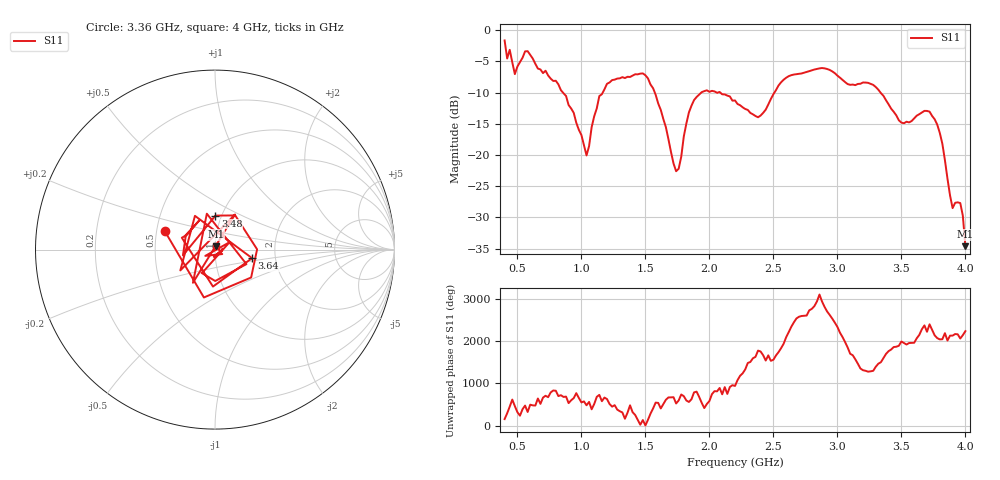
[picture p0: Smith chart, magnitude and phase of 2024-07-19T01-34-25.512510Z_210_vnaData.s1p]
!Created with skrf (http://scikit-rf.org).
# Hz S RI R 50.0
!freq ReS11 ImS11
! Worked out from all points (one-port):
!   181 points, 400 MHz to 4 GHz, reference 50 ohm
!   lowest |S11| = -34.6 dB at 4 GHz (marker M1), VSWR 1.04, Z = 50.4 + j1.81 ohm
!   |S11| at or under -10 dB: 1.573 GHz to 1.937 GHz (363.8 MHz wide, 20.7 % of centre); 2.085 GHz to 2.508 GHz (423.8 MHz wide, 18.5 % of centre); 3.336 GHz to end of sweep (the widest 3 of 5)
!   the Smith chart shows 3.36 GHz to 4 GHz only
!   S11 on the Smith chart (normalised r, x): 3.36 GHz: 0.55, +0.12; 3.48 GHz: 0.94, +0.37; 3.64 GHz: 1.51, -0.15; 4 GHz: 1.01, +0.04
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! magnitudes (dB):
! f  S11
! 400 MHz  -1.7
! 420 MHz  -4.6
! 480 MHz  -7.1
! 580 MHz  -3.4
! 860 MHz  -10.1
! 1.04 GHz  -20.1
! 1.14 GHz  -10.6
! 1.3 GHz  -7.7
! 1.52 GHz  -7.7
! 1.62 GHz  -12.8
! 1.74 GHz  -22.6
! 1.76 GHz  -22.2
! 1.82 GHz  -15.0
! 1.88 GHz  -11.2
! 1.98 GHz  -9.6
! 2.2 GHz  -11.3
! 2.38 GHz  -14.0
! 2.66 GHz  -7.1
! 2.9 GHz  -6.1
! 3.1 GHz  -8.8
! 3.36 GHz  -10.5
! 3.48 GHz  -14.4
! 3.56 GHz  -14.8
! 3.64 GHz  -13.5
! 3.78 GHz  -15.1
! 3.9 GHz  -28.5
! 3.96 GHz  -27.7
! 4 GHz  -34.6
